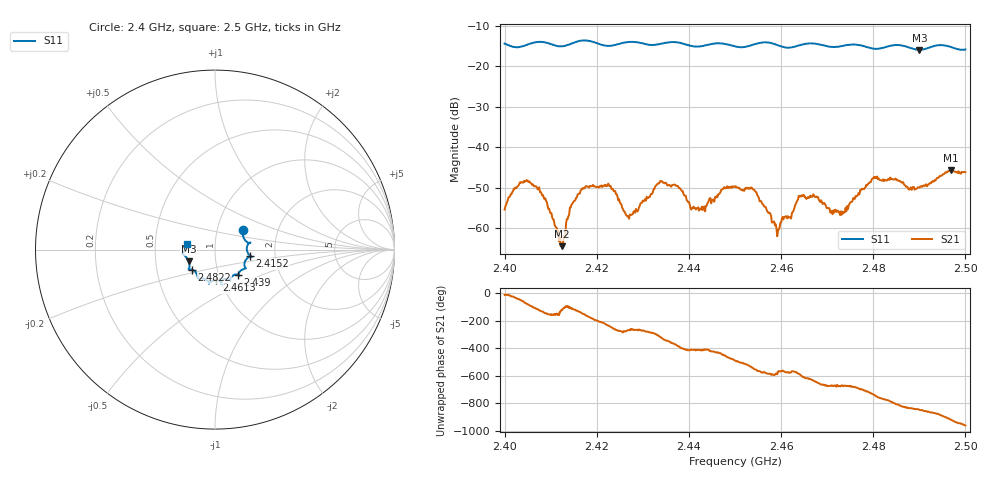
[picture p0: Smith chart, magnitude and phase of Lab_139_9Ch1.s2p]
# Hz S RI R 50
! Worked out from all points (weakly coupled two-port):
!   601 points, 2.4 GHz to 2.5 GHz, reference 50 ohm
!   highest |S21| = -45.65 dB at 2.4968 GHz (marker M1); lowest = -64.5 dB at 2.4125 GHz (marker M2)
!   lowest |S11| = -15.9 dB at 2.49 GHz (marker M3), VSWR 1.38, Z = 36.9 - j4.87 ohm
!   |S11| at or under -10 dB: start of sweep to end of sweep
!   S12 and S22 are empty: the file has one direction only
!   S11 on the Smith chart (normalised r, x): 2.4 GHz: 1.33, +0.31; 2.4152 GHz: 1.48, -0.11; 2.439 GHz: 1.24, -0.36; 2.4613 GHz: 0.96, -0.34; 2.4822 GHz: 0.76, -0.17; 2.5 GHz: 0.72, +0.05
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2.4e9  0.1559 0.1113  0.00166 -0.000309  0 0  0 0
2.405333e9  0.1854 0.0382  0.000372 -0.00376  0 0  0 0
2.408667e9  0.1952 0.0393  -0.0018 -0.00138  0 0  0 0
2.4125e9  0.1773 -0.000866  -0.0003 -0.000513  0 0  0 0
2.415167e9  0.1951 -0.0353  -0.000991 -0.00192  0 0  0 0
2.416667e9  0.2047 -0.0414  -0.00233 -0.00185  0 0  0 0
2.4225e9  0.167 -0.0659  -0.0021 0.00284  0 0  0 0
2.427e9  0.1721 -0.1038  -8.82e-05 0.00129  0 0  0 0
2.433333e9  0.1332 -0.1326  0.00212 0.00286  0 0  0 0
2.439e9  0.1282 -0.1395  0.00178 -0.00179  0 0  0 0
2.443e9  0.0903 -0.1548  0.000955 -0.00136  0 0  0 0
2.45e9  0.0685 -0.1636  -0.00202 -0.00252  0 0  0 0
2.454167e9  0.0349 -0.1844  -0.0029 0.000576  0 0  0 0
2.459167e9  0.0329 -0.1812  -0.000508 0.000601  0 0  0 0
2.461333e9  0.00779 -0.1704  -0.00107 0.000755  0 0  0 0
2.466667e9  -0.033 -0.1901  -6.83e-06 0.00245  0 0  0 0
2.473333e9  -0.0801 -0.1607  0.00102 0.00121  0 0  0 0
2.482167e9  -0.1283 -0.1122  0.00253 -0.00307  0 0  0 0
2.483333e9  -0.1395 -0.1106  0.00198 -0.00352  0 0  0 0
2.49e9  -0.147 -0.0643  -0.00195 -0.00247  0 0  0 0
2.496833e9  -0.1738 -0.013  -0.0049 0.0018  0 0  0 0
2.5e9  -0.1585 0.0335  -0.00225 0.00434  0 0  0 0
